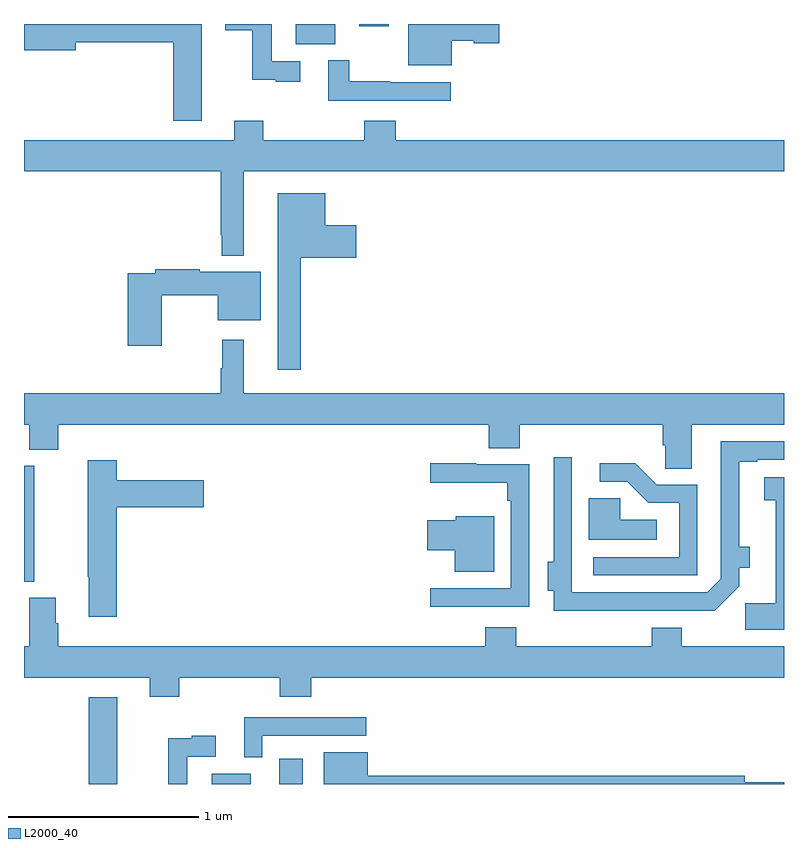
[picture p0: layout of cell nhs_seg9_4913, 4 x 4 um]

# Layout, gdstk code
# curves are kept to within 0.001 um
import gdstk
lib = gdstk.Library(unit=1e-6, precision=1e-09)
def R(c, l, rs):  # rectangles x0, y0, x1, y1
    for r in rs: c.add(gdstk.rectangle(r[:2], r[2:], *l))
def P(c, l, *ps):  # polygons
    for p in ps: c.add(gdstk.Polygon(p, *l))
L2000_40 = (2000, 40)

nhs_seg9_4913 = lib.new_cell('nhs_seg9_4913')
R(nhs_seg9_4913, L2000_40, [(395.342,1222.5,395.491,1222.957), (395.987,1222.5,396.193,1222.555), (396.344,1222.5,396.466,1222.633), (395,1223.565,395.053,1224.174), (396.431,1226.393,396.637,1226.5), (396.765,1226.487,396.919,1226.5)])
P(nhs_seg9_4913, L2000_40, [(396.454,1226.304),(396.303,1226.304),(396.303,1226.5),(396.06,1226.5),(396.06,1226.467),(396.202,1226.467),(396.202,1226.207),(396.326,1226.207),(396.326,1226.196),(396.454,1226.196)],
  [(395.935,1226.5),(395,1226.5),(395,1226.362),(395.272,1226.362),(395.272,1226.404),(395.786,1226.404),(395.786,1225.992),(395.935,1225.992)],
  [(397.252,1226.411),(397.368,1226.411),(397.368,1226.399),(397.501,1226.399),(397.501,1226.5),(397.022,1226.5),(397.022,1226.282),(397.252,1226.282)],
  [(397.246,1226.193),(396.926,1226.193),(396.926,1226.198),(396.712,1226.198),(396.712,1226.308),(396.602,1226.308),(396.602,1226.097),(397.246,1226.097)],
  [(396.157,1225.724),(399,1225.724),(399,1225.888),(396.956,1225.888),(396.956,1225.99),(396.791,1225.99),(396.791,1225.888),(396.26,1225.888),(396.26,1225.99),(396.107,1225.99),(396.107,1225.888),(395,1225.888),(395,1225.724),(396.036,1225.724),(396.036,1225.387),(396.042,1225.387),(396.042,1225.28),(396.157,1225.28)],
  [(396.457,1225.271),(396.748,1225.271),(396.748,1225.441),(396.586,1225.441),(396.586,1225.609),(396.335,1225.609),(396.335,1224.681),(396.457,1224.681)],
  [(395.724,1225.072),(396.02,1225.072),(396.02,1224.941),(396.247,1224.941),(396.247,1225.195),(395.924,1225.195),(395.924,1225.208),(395.692,1225.208),(395.692,1225.188),(395.546,1225.188),(395.546,1224.807),(395.724,1224.807)],
  [(398.515,1224.392),(399,1224.392),(399,1224.556),(396.157,1224.556),(396.157,1224.838),(396.043,1224.838),(396.043,1224.689),(396.036,1224.689),(396.036,1224.556),(395,1224.556),(395,1224.392),(395.027,1224.392),(395.027,1224.259),(395.18,1224.259),(395.18,1224.392),(397.445,1224.392),(397.445,1224.268),(397.61,1224.268),(397.61,1224.392),(398.363,1224.392),(398.363,1224.283),(398.376,1224.283),(398.376,1224.16),(398.515,1224.16)],
  [(398.219,1223.412),(398.635,1223.411),(398.765,1223.54),(398.765,1223.639),(398.821,1223.639),(398.821,1223.749),(398.764,1223.749),(398.764,1224.195),(398.86,1224.195),(398.86,1224.207),(399,1224.207),(399,1224.303),(398.667,1224.303),(398.667,1223.58),(398.595,1223.508),(397.884,1223.508),(397.884,1224.22),(397.788,1224.22),(397.788,1223.669),(397.757,1223.669),(397.757,1223.516),(397.788,1223.516),(397.788,1223.411)],
  [(395.489,1223.957),(395.947,1223.957),(395.947,1224.099),(395.489,1224.099),(395.489,1224.205),(395.335,1224.205),(395.335,1223.591),(395.342,1223.591),(395.342,1223.379),(395.489,1223.379)],
  [(398.544,1224.075),(398.331,1224.075),(398.218,1224.188),(398.031,1224.188),(398.031,1224.09),(398.175,1224.09),(398.286,1223.979),(398.448,1223.979),(398.448,1223.694),(397.995,1223.694),(397.995,1223.598),(398.544,1223.598)],
  [(397.659,1224.183),(397.381,1224.183),(397.381,1224.187),(397.137,1224.187),(397.137,1224.086),(397.543,1224.086),(397.543,1223.99),(397.563,1223.99),(397.563,1223.529),(397.137,1223.529),(397.137,1223.433),(397.659,1223.433)],
  [(399,1224.115),(398.895,1224.115),(398.895,1223.994),(398.957,1223.994),(398.957,1223.451),(398.796,1223.451),(398.796,1223.312),(399,1223.312)],
  [(398.329,1223.89),(398.137,1223.89),(398.137,1224.005),(397.973,1224.005),(397.973,1223.786),(398.329,1223.786)],
  [(397.474,1223.908),(397.272,1223.908),(397.272,1223.887),(397.122,1223.887),(397.122,1223.729),(397.268,1223.729),(397.268,1223.618),(397.474,1223.618)],
  [(395.816,1223.06),(396.347,1223.06),(396.347,1222.958),(396.512,1222.958),(396.512,1223.06),(399,1223.06),(399,1223.224),(398.463,1223.224),(398.463,1223.323),(398.303,1223.323),(398.303,1223.224),(397.592,1223.224),(397.592,1223.326),(397.427,1223.326),(397.427,1223.224),(395.18,1223.224),(395.18,1223.346),(395.167,1223.346),(395.167,1223.48),(395.027,1223.48),(395.027,1223.224),(395,1223.224),(395,1223.06),(395.663,1223.06),(395.663,1222.958),(395.816,1222.958)],
  [(396.255,1222.755),(396.802,1222.755),(396.802,1222.851),(396.158,1222.851),(396.158,1222.64),(396.255,1222.64)],
  [(395.859,1222.644),(396.01,1222.644),(396.01,1222.753),(395.882,1222.753),(395.882,1222.742),(395.758,1222.742),(395.758,1222.5),(395.859,1222.5)],
  [(399,1222.508),(398.794,1222.508),(398.794,1222.544),(396.808,1222.544),(396.808,1222.666),(396.578,1222.666),(396.578,1222.5),(399,1222.5)])

lib.write_gds('nhs_seg9_4913.gds')
